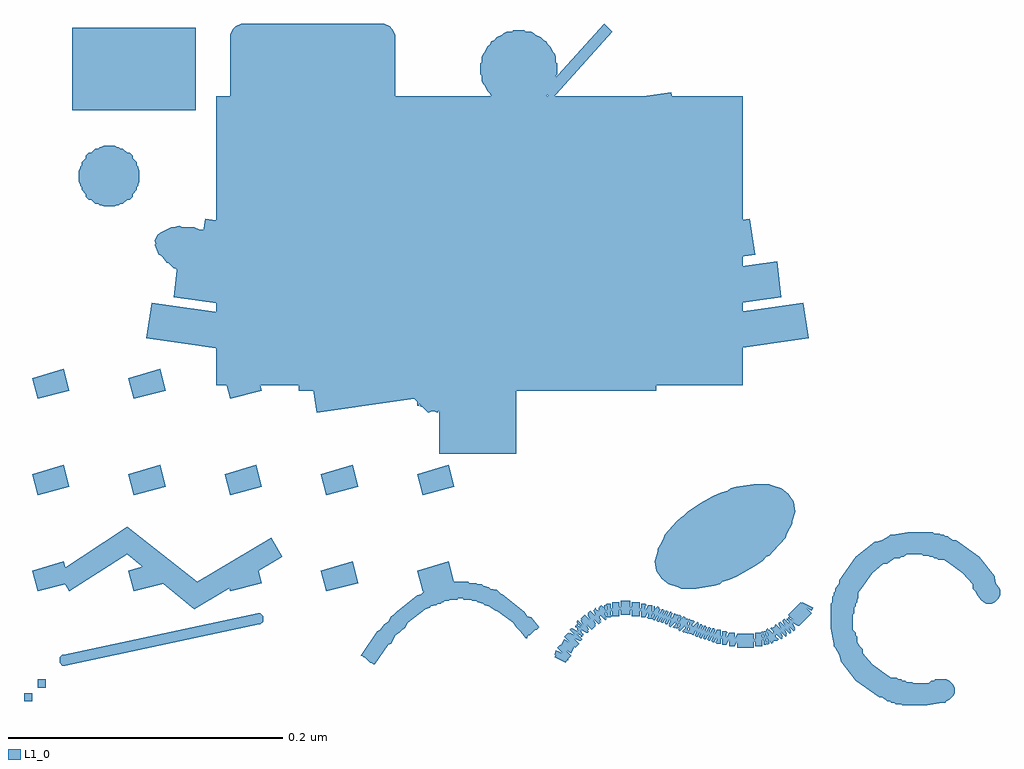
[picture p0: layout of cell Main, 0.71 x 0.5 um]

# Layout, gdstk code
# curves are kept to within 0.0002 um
import gdstk
lib = gdstk.Library(unit=1e-6, precision=1e-09)
def R(c, l, rs):  # rectangles x0, y0, x1, y1
    for r in rs: c.add(gdstk.rectangle(r[:2], r[2:], *l))
def P(c, l, *ps):  # polygons
    for p in ps: c.add(gdstk.Polygon(p, *l))
L1_0 = (1, 0)

main = lib.new_cell('Main')
R(main, L1_0, [(-0.33,-0.24,-0.324,-0.234), (-0.32,-0.23,-0.314,-0.224), (-0.028,-0.06,0.028,0.18), (-0.13,-0.014,0.13,0.014), (-0.13,-0.014,0.13,0.014), (-0.12,-0.013,0.12,0.013), (-0.19,-0.01,0.19,0.2), (-0.187,-0.01,0.193,0.2), (-0.105,0.02,0.105,0.046), (-0.114,0.022,0.114,0.05), (-0.114,0.022,0.114,0.05), (-0.09,0.053,0.09,0.079), (-0.098,0.058,0.098,0.086), (-0.098,0.058,0.098,0.086), (-0.075,0.086,0.075,0.112), (-0.082,0.094,0.082,0.122), (-0.082,0.094,0.082,0.122), (-0.061,0.12,0.061,0.145), (-0.066,0.13,0.066,0.158), (-0.066,0.13,0.066,0.158), (-0.046,0.153,0.046,0.178), (-0.05,0.166,0.05,0.194), (-0.05,0.166,0.05,0.194), (-0.295,0.19,-0.205,0.25), (-0.295,0.19,-0.205,0.25), (-0.17,0.198,-0.07,0.243)])
P(main, L1_0, [(-0.117,-0.03),(-0.121,-0.004),(0.117,0.03),(0.121,0.004)],
  [(-0.107,0.005),(-0.11,0.031),(0.098,0.06),(0.101,0.034)],
  [(-0.097,0.04),(-0.1,0.066),(0.078,0.091),(0.082,0.065)],
  [(-0.086,0.075),(-0.09,0.1),(0.059,0.121),(0.062,0.096)],
  [(-0.077,0.11),(-0.081,0.135),(0.04,0.152),(0.044,0.127)],
  [(0.003,-0.01),(-0.001,0.016),(0.237,0.05),(0.241,0.024)],
  [(0.013,0.025),(0.01,0.051),(0.218,0.08),(0.221,0.054)],
  [(0.023,0.06),(0.02,0.086),(0.198,0.111),(0.202,0.085)],
  [(-0.003,-0.01),(-0.241,0.024),(-0.237,0.05),(0.001,0.016)],
  [(-0.003,-0.01),(-0.241,0.024),(-0.237,0.05),(-0.001,0.016),(0.001,0.016),(0.237,0.05),(0.241,0.024),(0.003,-0.01),(0,0.009)],
  [(0.013,0.025),(0.01,0.051),(0.218,0.08),(0.221,0.054)],
  [(0.023,0.06),(0.02,0.086),(0.198,0.111),(0.202,0.085)],
  [(-0.003,-0.01),(-0.19,0.017),(-0.19,0.043),(-0.001,0.016),(0.001,0.016),(0.19,0.043),(0.19,0.017),(0.003,-0.01),(0,0.009)],
  [(0.013,0.025),(0.01,0.051),(0.19,0.076),(0.19,0.05)],
  [(0.023,0.06),(0.02,0.086),(0.19,0.11),(0.19,0.083)],
  [(-0.028,-0.006),(-0.19,0.017),(-0.19,0.043),(-0.028,0.02)],
  [(0.028,-0.006),(0.028,0.02),(0.19,0.043),(0.19,0.017)],
  [(-0.036,-0.005),(-0.184,0.016),(-0.186,0.017),(-0.188,0.019),(-0.19,0.023),(-0.19,0.037),(-0.186,0.041),(-0.184,0.042),(-0.182,0.042),(-0.034,0.021),(-0.032,0.02),(-0.03,0.018),(-0.028,0.014),(-0.028,0),(-0.032,-0.004),(-0.034,-0.005)],
  [(0.034,-0.005),(0.032,-0.004),(0.028,0),(0.028,0.014),(0.03,0.018),(0.032,0.02),(0.034,0.021),(0.182,0.042),(0.184,0.042),(0.186,0.041),(0.19,0.037),(0.19,0.023),(0.188,0.019),(0.186,0.017),(0.184,0.016),(0.036,-0.005)],
  [(0.03,-0.179),(0.016,-0.169),(0.015,-0.169),(0.011,-0.165),(0.008,-0.165),(0.007,-0.164),(0.006,-0.164),(0.003,-0.163),(0.002,-0.162),(-0.001,-0.162),(-0.002,-0.161),(-0.007,-0.161),(-0.008,-0.16),(-0.017,-0.16),(-0.018,-0.161),(-0.023,-0.161),(-0.024,-0.162),(-0.027,-0.162),(-0.028,-0.163),(-0.029,-0.163),(-0.03,-0.164),(-0.032,-0.164),(-0.033,-0.165),(-0.036,-0.166),(-0.037,-0.166),(-0.039,-0.168),(-0.041,-0.168),(-0.038,-0.166),(-0.037,-0.166),(-0.035,-0.164),(-0.032,-0.163),(-0.031,-0.163),(-0.03,-0.162),(-0.028,-0.162),(-0.027,-0.161),(-0.026,-0.161),(-0.025,-0.16),(-0.022,-0.16),(-0.021,-0.159),(-0.016,-0.159),(-0.015,-0.158),(-0.01,-0.158),(-0.009,-0.159),(-0.004,-0.159),(-0.003,-0.16),(0,-0.16),(0.001,-0.161),(0.002,-0.161),(0.005,-0.162),(0.006,-0.163),(0.007,-0.163),(0.015,-0.167),(0.016,-0.167)],
  [(-0.076,-0.213),(-0.077,-0.212),(-0.078,-0.212),(-0.082,-0.208),(-0.083,-0.208),(-0.084,-0.207),(-0.085,-0.207),(-0.073,-0.189),(-0.071,-0.188),(-0.068,-0.184),(-0.065,-0.182),(-0.063,-0.178),(-0.061,-0.177),(-0.059,-0.175),(-0.044,-0.163),(-0.041,-0.162),(-0.038,-0.159),(-0.034,-0.158),(-0.033,-0.157),(-0.031,-0.157),(-0.03,-0.156),(-0.029,-0.156),(-0.028,-0.155),(-0.025,-0.155),(-0.024,-0.154),(-0.019,-0.154),(-0.018,-0.153),(-0.007,-0.153),(-0.006,-0.154),(-0.001,-0.154),(0,-0.155),(0.003,-0.155),(0.004,-0.156),(0.008,-0.157),(0.009,-0.158),(0.014,-0.159),(0.017,-0.162),(0.018,-0.162),(0.034,-0.175),(0.036,-0.178),(0.039,-0.179),(0.045,-0.186),(0.044,-0.186),(0.044,-0.187),(0.043,-0.188),(0.042,-0.188),(0.038,-0.192),(0.037,-0.192),(0.036,-0.193),(0.036,-0.194),(0.035,-0.194),(0.031,-0.189),(0.028,-0.186),(0.026,-0.183),(0.014,-0.174),(0.013,-0.174),(0.008,-0.171),(0.005,-0.17),(0.004,-0.169),(0,-0.168),(-0.001,-0.167),(-0.004,-0.167),(-0.005,-0.166),(-0.01,-0.166),(-0.011,-0.165),(-0.014,-0.165),(-0.015,-0.166),(-0.02,-0.166),(-0.021,-0.167),(-0.024,-0.167),(-0.025,-0.168),(-0.026,-0.168),(-0.027,-0.169),(-0.029,-0.169),(-0.03,-0.17),(-0.034,-0.171),(-0.035,-0.172),(-0.038,-0.173),(-0.051,-0.183),(-0.053,-0.187),(-0.055,-0.188),(-0.057,-0.19),(-0.06,-0.192),(-0.063,-0.198),(-0.065,-0.199),(-0.075,-0.213)],
  [(0.001,0.001),(0.002,0.002),(0.002,0.003),(0.003,0.003),(0.005,0.005),(0.005,0.006),(0.006,0.006),(0.008,0.008),(0.007,0.008),(0.007,0.009),(0.01,0.009),(0.008,0.007),(0.009,0.007),(0.009,0.006),(0.007,0.006),(0.007,0.004),(0.004,0.004),(0.004,0.001)],
  [(0.041,0),(0.041,0.005),(0.04,0.005),(0.04,0.011),(0.039,0.012),(0.039,0.013),(0.038,0.014),(0.038,0.015),(0.037,0.016),(0.037,0.015),(0.036,0.015),(0.036,0.016),(0.035,0.016),(0.035,0.017),(0.034,0.017),(0.034,0.018),(0.032,0.018),(0.032,0.019),(0.027,0.019),(0.027,0.018),(0.023,0.018),(0.022,0.017),(0.022,0.016),(0.019,0.016),(0.018,0.015),(0.019,0.015),(0.019,0.014),(0.016,0.014),(0.015,0.013),(0.016,0.013),(0.016,0.012),(0.013,0.012),(0.015,0.014),(0.014,0.014),(0.014,0.015),(0.017,0.015),(0.018,0.016),(0.017,0.016),(0.017,0.017),(0.02,0.017),(0.021,0.018),(0.02,0.018),(0.02,0.019),(0.024,0.019),(0.025,0.02),(0.025,0.021),(0.034,0.021),(0.034,0.02),(0.036,0.02),(0.036,0.019),(0.037,0.019),(0.037,0.018),(0.038,0.018),(0.038,0.017),(0.039,0.017),(0.039,0.014),(0.04,0.013),(0.04,0.012),(0.041,0.011),(0.041,0.01),(0.042,0.009),(0.042,0.007),(0.043,0.007),(0.043,0)],
  [(-0.036,-0.03),(-0.04,-0.026),(-0.043,-0.025),(-0.044,-0.025),(-0.044,-0.024),(-0.043,-0.024),(-0.043,-0.025),(-0.041,-0.025),(-0.042,-0.024),(-0.044,-0.024),(-0.044,-0.022),(-0.049,-0.017),(-0.048,-0.016),(-0.049,-0.015),(-0.05,-0.015),(-0.05,-0.008),(-0.051,-0.001),(-0.05,-0.001),(-0.05,0),(-0.044,0),(-0.037,0.001),(-0.037,0),(-0.035,0),(-0.035,-0.009),(-0.034,-0.01),(-0.031,-0.01),(-0.031,-0.011),(-0.03,-0.011),(-0.03,-0.012),(-0.029,-0.012),(-0.029,-0.013),(-0.027,-0.013),(-0.027,-0.011),(-0.024,-0.01),(-0.024,-0.009),(-0.021,-0.008),(-0.021,-0.007),(-0.014,-0.004),(-0.014,-0.001),(-0.007,0.002),(-0.002,0.007),(-0.002,0.01),(0.002,0.01),(0.002,0.014),(0.009,0.017),(0.009,0.02),(0.012,0.021),(0.012,0.022),(0.015,0.022),(0.015,0.024),(0.02,0.024),(0.02,0.026),(0.031,0.026),(0.034,0.028),(0.036,0.026),(0.039,0.026),(0.039,0.025),(0.041,0.025),(0.041,0.022),(0.044,0.022),(0.044,0.017),(0.046,0.016),(0.046,0.015),(0.047,0.015),(0.047,0.014),(0.048,0.013),(0.047,0.012),(0.048,0.012),(0.049,0.011),(0.048,0.01),(0.048,-0.002),(0.034,-0.002),(0.034,0),(0.033,0),(0.033,0.006),(0.031,0.008),(0.031,0.009),(0.029,0.011),(0.028,0.011),(0.026,0.009),(0.025,0.009),(0.024,0.008),(0.023,0.008),(0.017,0.002),(0.016,0.003),(0.013,-0.003),(0.012,-0.003),(0.012,-0.004),(0.01,-0.004),(0.012,-0.003),(0.012,-0.001),(0.009,-0.004),(0.008,-0.007),(0.004,-0.009),(0.001,-0.012),(-0.001,-0.016),(-0.004,-0.017),(-0.006,-0.019),(-0.007,-0.018),(-0.01,-0.024),(-0.013,-0.025),(-0.014,-0.025),(-0.016,-0.027),(-0.016,-0.028),(-0.019,-0.029),(-0.02,-0.028),(-0.026,-0.028),(-0.027,-0.029),(-0.027,-0.028),(-0.028,-0.028),(-0.029,-0.03),(-0.032,-0.029),(-0.033,-0.029)],
  [(-0.004,-0.02),(-0.005,-0.019),(-0.007,-0.019),(-0.008,-0.018),(-0.009,-0.018),(-0.01,-0.017),(-0.011,-0.017),(-0.011,-0.016),(-0.012,-0.016),(-0.013,-0.015),(-0.014,-0.015),(-0.014,-0.014),(-0.017,-0.011),(-0.017,-0.01),(-0.018,-0.009),(-0.018,-0.008),(-0.019,-0.007),(-0.019,-0.005),(-0.02,-0.004),(-0.02,0.004),(-0.019,0.005),(-0.019,0.007),(-0.018,0.008),(-0.018,0.009),(-0.017,0.01),(-0.017,0.011),(-0.014,0.014),(-0.014,0.015),(-0.013,0.015),(-0.012,0.016),(-0.011,0.016),(-0.011,0.017),(-0.01,0.017),(-0.009,0.018),(-0.008,0.018),(-0.007,0.019),(-0.005,0.019),(-0.004,0.02),(0.004,0.02),(0.005,0.019),(0.007,0.019),(0.008,0.018),(0.009,0.018),(0.01,0.017),(0.011,0.017),(0.012,0.016),(0.013,0.016),(0.013,0.015),(0.014,0.014),(0.015,0.014),(0.015,0.013),(0.017,0.011),(0.017,0.01),(0.018,0.009),(0.018,0.008),(0.019,0.007),(0.019,0.005),(0.02,0.004),(0.02,-0.004),(0.019,-0.005),(0.019,-0.007),(0.018,-0.008),(0.018,-0.009),(0.017,-0.01),(0.017,-0.011),(0.015,-0.013),(0.015,-0.014),(0.014,-0.014),(0.013,-0.015),(0.013,-0.016),(0.012,-0.016),(0.011,-0.017),(0.01,-0.017),(0.009,-0.018),(0.008,-0.018),(0.007,-0.019),(0.005,-0.019),(0.004,-0.02)],
  [(0.026,0.192),(0.025,0.193),(0.021,0.193),(0.019,0.194),(0.018,0.195),(0.014,0.197),(0.012,0.199),(0.01,0.2),(0.009,0.202),(0.007,0.204),(0.005,0.208),(0.004,0.209),(0.003,0.211),(0.003,0.215),(0.002,0.216),(0.002,0.224),(0.003,0.225),(0.003,0.229),(0.004,0.231),(0.005,0.232),(0.007,0.236),(0.009,0.238),(0.01,0.24),(0.012,0.241),(0.014,0.243),(0.018,0.245),(0.019,0.246),(0.021,0.247),(0.025,0.247),(0.026,0.248),(0.034,0.248),(0.035,0.247),(0.039,0.247),(0.041,0.246),(0.042,0.245),(0.046,0.243),(0.048,0.241),(0.05,0.24),(0.051,0.238),(0.053,0.236),(0.055,0.232),(0.056,0.231),(0.057,0.229),(0.057,0.225),(0.058,0.224),(0.058,0.216),(0.057,0.215),(0.057,0.211),(0.056,0.209),(0.055,0.208),(0.053,0.204),(0.051,0.202),(0.05,0.2),(0.048,0.199),(0.046,0.197),(0.042,0.195),(0.041,0.194),(0.039,0.193),(0.035,0.193),(0.034,0.192)],
  [(0.028,0.061),(0.028,0.087),(0.19,0.11),(0.19,0.083)],
  [(0.034,0.095),(0.03,0.12),(0.179,0.141),(0.182,0.116)],
  [(0.043,0.13),(0.039,0.155),(0.16,0.172),(0.164,0.147)],
  [(0.053,0.165),(0.05,0.19),(0.12,0.2),(0.141,0.2),(0.144,0.178)],
  [(0.053,0.165),(0.05,0.19),(0.141,0.203),(0.144,0.178)],
  [(0.034,0.095),(0.03,0.12),(0.179,0.141),(0.182,0.116)],
  [(0.034,0.028),(0.032,0.029),(0.028,0.033),(0.028,0.047),(0.03,0.051),(0.032,0.053),(0.034,0.054),(0.182,0.075),(0.184,0.075),(0.186,0.074),(0.19,0.07),(0.19,0.056),(0.188,0.052),(0.186,0.05),(0.184,0.049),(0.036,0.028)],
  [(0.034,0.062),(0.032,0.063),(0.028,0.067),(0.028,0.081),(0.03,0.085),(0.032,0.087),(0.034,0.088),(0.182,0.109),(0.184,0.109),(0.186,0.108),(0.19,0.104),(0.19,0.089),(0.188,0.085),(0.186,0.083),(0.184,0.082),(0.036,0.062)],
  [(0.039,0.096),(0.035,0.098),(0.033,0.102),(0.031,0.113),(0.031,0.115),(0.033,0.119),(0.037,0.121),(0.172,0.14),(0.174,0.14),(0.178,0.138),(0.18,0.134),(0.181,0.121),(0.179,0.117),(0.175,0.115),(0.041,0.096)],
  [(0.048,0.131),(0.044,0.133),(0.042,0.137),(0.04,0.148),(0.04,0.15),(0.042,0.154),(0.046,0.156),(0.153,0.171),(0.155,0.171),(0.159,0.169),(0.161,0.165),(0.163,0.154),(0.163,0.152),(0.161,0.148),(0.157,0.146),(0.05,0.131)],
  [(0.058,0.166),(0.054,0.168),(0.052,0.172),(0.051,0.183),(0.051,0.185),(0.053,0.189),(0.057,0.191),(0.12,0.2),(0.135,0.2),(0.139,0.198),(0.141,0.196),(0.142,0.194),(0.143,0.183),(0.141,0.179),(0.137,0.177),(0.06,0.166)],
  [(0.034,0.095),(0.03,0.12),(0.179,0.141),(0.182,0.116)],
  [(0.034,0.095),(0.03,0.12),(0.179,0.141),(0.182,0.116)],
  [(0.043,0.13),(0.039,0.155),(0.16,0.172),(0.164,0.147)],
  [(0.053,0.165),(0.05,0.19),(0.12,0.2),(0.141,0.2),(0.144,0.178)],
  [(0.043,0.13),(0.039,0.155),(0.16,0.172),(0.164,0.147)],
  [(0.053,0.165),(0.05,0.19),(0.141,0.203),(0.144,0.178)],
  [(0.043,0.13),(0.039,0.155),(0.16,0.172),(0.164,0.147)],
  [(0.054,0.198),(0.048,0.204),(0.092,0.253),(0.098,0.247)],
  [(0.028,0.027),(0.028,0.053),(0.19,0.076),(0.19,0.05)],
  [(-0.013,0.025),(-0.221,0.054),(-0.218,0.08),(-0.01,0.051)],
  [(-0.043,0.13),(-0.164,0.147),(-0.16,0.172),(-0.039,0.155)],
  [(-0.013,0.025),(-0.19,0.05),(-0.19,0.076),(-0.01,0.051)],
  [(-0.053,0.165),(-0.144,0.178),(-0.141,0.2),(-0.12,0.2),(-0.05,0.19)],
  [(-0.013,0.025),(-0.221,0.054),(-0.218,0.08),(-0.01,0.051)],
  [(-0.023,0.06),(-0.19,0.083),(-0.19,0.11),(-0.02,0.086)],
  [(-0.023,0.06),(-0.202,0.085),(-0.198,0.111),(-0.02,0.086)],
  [(-0.036,0.028),(-0.184,0.049),(-0.186,0.05),(-0.188,0.052),(-0.19,0.056),(-0.19,0.07),(-0.186,0.074),(-0.184,0.075),(-0.182,0.075),(-0.034,0.054),(-0.032,0.053),(-0.03,0.051),(-0.028,0.047),(-0.028,0.033),(-0.032,0.029),(-0.034,0.028)],
  [(-0.034,0.095),(-0.182,0.116),(-0.179,0.141),(-0.03,0.12)],
  [(-0.036,0.062),(-0.184,0.082),(-0.186,0.083),(-0.188,0.085),(-0.19,0.089),(-0.19,0.104),(-0.186,0.108),(-0.184,0.109),(-0.182,0.109),(-0.034,0.088),(-0.032,0.087),(-0.03,0.085),(-0.028,0.081),(-0.028,0.067),(-0.032,0.063),(-0.034,0.062)],
  [(-0.023,0.06),(-0.202,0.085),(-0.198,0.111),(-0.02,0.086)],
  [(-0.041,0.096),(-0.175,0.115),(-0.179,0.117),(-0.181,0.121),(-0.18,0.134),(-0.178,0.138),(-0.174,0.14),(-0.172,0.14),(-0.037,0.121),(-0.033,0.119),(-0.031,0.115),(-0.031,0.113),(-0.033,0.102),(-0.035,0.098),(-0.039,0.096)],
  [(-0.043,0.13),(-0.164,0.147),(-0.16,0.172),(-0.039,0.155)],
  [(-0.05,0.131),(-0.157,0.146),(-0.161,0.148),(-0.163,0.152),(-0.163,0.154),(-0.161,0.165),(-0.159,0.169),(-0.155,0.171),(-0.153,0.171),(-0.046,0.156),(-0.042,0.154),(-0.04,0.15),(-0.04,0.148),(-0.042,0.137),(-0.044,0.133),(-0.048,0.131)],
  [(-0.034,0.095),(-0.182,0.116),(-0.179,0.141),(-0.03,0.12)],
  [(-0.06,0.166),(-0.137,0.177),(-0.141,0.179),(-0.143,0.183),(-0.142,0.194),(-0.141,0.196),(-0.139,0.198),(-0.135,0.2),(-0.12,0.2),(-0.057,0.191),(-0.053,0.189),(-0.051,0.185),(-0.052,0.172),(-0.054,0.168),(-0.058,0.166)],
  [(-0.053,0.165),(-0.144,0.178),(-0.141,0.2),(-0.12,0.2),(-0.05,0.19)],
  [(-0.272,0.12),(-0.274,0.121),(-0.275,0.121),(-0.276,0.122),(-0.278,0.122),(-0.281,0.125),(-0.283,0.125),(-0.285,0.127),(-0.285,0.129),(-0.288,0.132),(-0.288,0.134),(-0.289,0.135),(-0.289,0.136),(-0.29,0.138),(-0.29,0.146),(-0.289,0.148),(-0.289,0.149),(-0.288,0.15),(-0.288,0.152),(-0.285,0.155),(-0.285,0.157),(-0.283,0.159),(-0.281,0.159),(-0.278,0.162),(-0.276,0.162),(-0.275,0.163),(-0.274,0.163),(-0.272,0.164),(-0.264,0.164),(-0.262,0.163),(-0.261,0.163),(-0.26,0.162),(-0.258,0.162),(-0.255,0.159),(-0.253,0.159),(-0.251,0.157),(-0.251,0.155),(-0.248,0.152),(-0.248,0.15),(-0.247,0.149),(-0.247,0.148),(-0.246,0.146),(-0.246,0.138),(-0.247,0.136),(-0.247,0.135),(-0.248,0.134),(-0.248,0.132),(-0.251,0.129),(-0.251,0.127),(-0.253,0.125),(-0.255,0.125),(-0.258,0.122),(-0.26,0.122),(-0.261,0.121),(-0.262,0.121),(-0.264,0.12)],
  [(-0.186,0.062),(-0.188,0.063),(-0.19,0.063),(-0.195,0.065),(-0.198,0.065),(-0.211,0.069),(-0.213,0.071),(-0.218,0.073),(-0.22,0.075),(-0.221,0.075),(-0.225,0.079),(-0.226,0.079),(-0.23,0.084),(-0.232,0.085),(-0.235,0.092),(-0.234,0.093),(-0.235,0.095),(-0.233,0.099),(-0.231,0.101),(-0.223,0.105),(-0.221,0.105),(-0.217,0.106),(-0.215,0.105),(-0.206,0.105),(-0.202,0.103),(-0.199,0.103),(-0.185,0.098),(-0.183,0.096),(-0.178,0.095),(-0.177,0.093),(-0.175,0.092),(-0.172,0.089),(-0.17,0.089),(-0.166,0.084),(-0.162,0.076),(-0.162,0.073),(-0.163,0.069),(-0.165,0.068),(-0.165,0.067),(-0.171,0.064),(-0.174,0.063),(-0.179,0.062),(-0.181,0.063)],
  [(-0.034,0.095),(-0.182,0.116),(-0.179,0.141),(-0.03,0.12)],
  [(-0.043,0.13),(-0.164,0.147),(-0.16,0.172),(-0.039,0.155)],
  [(-0.043,0.13),(-0.164,0.147),(-0.16,0.172),(-0.039,0.155)],
  [(-0.053,0.165),(-0.144,0.178),(-0.141,0.203),(-0.05,0.19)],
  [(-0.028,0.027),(-0.19,0.05),(-0.19,0.076),(-0.028,0.053)],
  [(-0.053,0.165),(-0.144,0.178),(-0.141,0.203),(-0.05,0.19)],
  [(-0.172,0.188),(-0.176,0.19),(-0.178,0.192),(-0.18,0.196),(-0.18,0.245),(-0.178,0.249),(-0.176,0.251),(-0.172,0.253),(-0.068,0.253),(-0.064,0.251),(-0.062,0.249),(-0.06,0.245),(-0.06,0.196),(-0.062,0.192),(-0.064,0.19),(-0.068,0.188)],
  [(-0.028,0.061),(-0.19,0.083),(-0.19,0.11),(-0.028,0.087)],
  [(-0.067,0.145),(-0.07,0.17),(0.021,0.183),(0.024,0.158)],
  [(-0.034,0.095),(-0.182,0.116),(-0.179,0.141),(-0.03,0.12)],
  [(-0.25,-0.09),(-0.254,-0.075),(-0.231,-0.068),(-0.227,-0.084)],
  [(-0.18,-0.09),(-0.184,-0.075),(-0.161,-0.068),(-0.157,-0.084)],
  [(-0.11,-0.09),(-0.114,-0.075),(-0.091,-0.068),(-0.087,-0.084)],
  [(-0.04,-0.09),(-0.044,-0.075),(-0.021,-0.068),(-0.017,-0.084)],
  [(-0.32,-0.02),(-0.324,-0.005),(-0.301,0.002),(-0.297,-0.014)],
  [(-0.25,-0.02),(-0.254,-0.005),(-0.231,0.002),(-0.227,-0.014)],
  [(-0.18,-0.02),(-0.184,-0.005),(-0.161,0.002),(-0.157,-0.014)],
  [(-0.11,-0.02),(-0.114,-0.005),(-0.091,0.002),(-0.087,-0.014)],
  [(-0.04,-0.02),(-0.044,-0.005),(-0.021,0.002),(-0.017,-0.014)],
  [(-0.302,-0.214),(-0.304,-0.212),(-0.304,-0.208),(-0.302,-0.206),(-0.301,-0.206),(-0.16,-0.176),(-0.158,-0.176),(-0.156,-0.178),(-0.156,-0.182),(-0.158,-0.184),(-0.159,-0.184),(-0.3,-0.214)],
  [(-0.205,-0.166),(-0.255,-0.126),(-0.3,-0.155),(-0.255,-0.124),(-0.205,-0.164),(-0.145,-0.13)],
  [(-0.206,-0.173),(-0.255,-0.133),(-0.297,-0.16),(-0.305,-0.146),(-0.255,-0.113),(-0.204,-0.153),(-0.15,-0.121),(-0.142,-0.135)],
  [(-0.32,-0.16),(-0.324,-0.145),(-0.301,-0.138),(-0.297,-0.154)],
  [(-0.32,-0.16),(-0.324,-0.145),(-0.301,-0.138),(-0.297,-0.154)],
  [(-0.01,-0.009),(-0.008,-0.007),(-0.009,-0.007),(-0.009,-0.006),(-0.007,-0.006),(-0.007,-0.004),(-0.004,-0.004),(-0.004,-0.001),(-0.001,-0.001),(-0.002,-0.002),(-0.002,-0.003),(-0.003,-0.003),(-0.005,-0.005),(-0.005,-0.006),(-0.006,-0.006),(-0.008,-0.008),(-0.007,-0.008),(-0.007,-0.009)],
  [(-0.034,-0.021),(-0.034,-0.02),(-0.036,-0.02),(-0.036,-0.019),(-0.037,-0.019),(-0.037,-0.018),(-0.038,-0.018),(-0.038,-0.017),(-0.039,-0.017),(-0.039,-0.014),(-0.04,-0.013),(-0.04,-0.012),(-0.041,-0.011),(-0.041,-0.01),(-0.042,-0.009),(-0.042,-0.007),(-0.043,-0.007),(-0.043,0),(-0.041,0),(-0.041,-0.005),(-0.04,-0.005),(-0.04,-0.011),(-0.039,-0.012),(-0.039,-0.013),(-0.038,-0.014),(-0.038,-0.015),(-0.037,-0.016),(-0.037,-0.015),(-0.036,-0.015),(-0.036,-0.016),(-0.035,-0.016),(-0.035,-0.017),(-0.034,-0.017),(-0.034,-0.018),(-0.032,-0.018),(-0.032,-0.019),(-0.027,-0.019),(-0.027,-0.018),(-0.023,-0.018),(-0.022,-0.017),(-0.022,-0.016),(-0.019,-0.016),(-0.018,-0.015),(-0.019,-0.015),(-0.019,-0.014),(-0.016,-0.014),(-0.015,-0.013),(-0.016,-0.013),(-0.016,-0.012),(-0.013,-0.012),(-0.015,-0.014),(-0.014,-0.014),(-0.014,-0.015),(-0.017,-0.015),(-0.018,-0.016),(-0.017,-0.016),(-0.017,-0.017),(-0.02,-0.017),(-0.021,-0.018),(-0.02,-0.018),(-0.02,-0.019),(-0.024,-0.019),(-0.025,-0.02),(-0.025,-0.021)],
  [(-0.25,-0.16),(-0.254,-0.145),(-0.231,-0.138),(-0.227,-0.154)],
  [(-0.18,-0.16),(-0.184,-0.145),(-0.161,-0.138),(-0.157,-0.154)],
  [(-0.11,-0.16),(-0.114,-0.145),(-0.091,-0.138),(-0.087,-0.154)],
  [(-0.04,-0.16),(-0.044,-0.145),(-0.021,-0.138),(-0.017,-0.154)],
  [(-0.32,-0.16),(-0.324,-0.145),(-0.301,-0.138),(-0.297,-0.154)],
  [(-0.32,-0.16),(-0.324,-0.145),(-0.301,-0.138),(-0.297,-0.154)],
  [(-0.25,-0.16),(-0.254,-0.145),(-0.231,-0.138),(-0.227,-0.154)],
  [(-0.18,-0.16),(-0.184,-0.145),(-0.161,-0.138),(-0.157,-0.154)],
  [(-0.11,-0.16),(-0.114,-0.145),(-0.091,-0.138),(-0.087,-0.154)],
  [(-0.04,-0.16),(-0.044,-0.145),(-0.021,-0.138),(-0.017,-0.154)],
  [(-0.32,-0.09),(-0.324,-0.075),(-0.301,-0.068),(-0.297,-0.084)],
  [(0.064,-0.212),(0.056,-0.208),(0.057,-0.206),(0.056,-0.206),(0.057,-0.203),(0.062,-0.205),(0.058,-0.201),(0.06,-0.199),(0.061,-0.2),(0.061,-0.199),(0.063,-0.195),(0.067,-0.197),(0.063,-0.193),(0.066,-0.19),(0.067,-0.191),(0.067,-0.19),(0.071,-0.192),(0.067,-0.188),(0.068,-0.187),(0.069,-0.188),(0.069,-0.187),(0.073,-0.189),(0.072,-0.186),(0.071,-0.186),(0.071,-0.185),(0.072,-0.185),(0.072,-0.184),(0.073,-0.184),(0.073,-0.185),(0.076,-0.186),(0.073,-0.184),(0.072,-0.184),(0.073,-0.184),(0.072,-0.182),(0.073,-0.181),(0.077,-0.185),(0.075,-0.181),(0.076,-0.181),(0.075,-0.18),(0.078,-0.177),(0.082,-0.181),(0.08,-0.177),(0.081,-0.177),(0.08,-0.176),(0.082,-0.174),(0.086,-0.178),(0.085,-0.175),(0.093,-0.175),(0.093,-0.177),(0.094,-0.179),(0.094,-0.176),(0.093,-0.175),(0.085,-0.175),(0.084,-0.174),(0.086,-0.172),(0.086,-0.173),(0.088,-0.174),(0.088,-0.172),(0.089,-0.172),(0.089,-0.171),(0.09,-0.17),(0.092,-0.172),(0.092,-0.17),(0.093,-0.17),(0.093,-0.173),(0.094,-0.174),(0.097,-0.174),(0.097,-0.177),(0.098,-0.178),(0.098,-0.175),(0.097,-0.174),(0.094,-0.174),(0.094,-0.171),(0.093,-0.17),(0.092,-0.17),(0.093,-0.17),(0.094,-0.169),(0.097,-0.169),(0.097,-0.172),(0.098,-0.173),(0.098,-0.168),(0.103,-0.168),(0.103,-0.171),(0.104,-0.172),(0.104,-0.167),(0.111,-0.167),(0.111,-0.172),(0.112,-0.171),(0.112,-0.168),(0.118,-0.168),(0.118,-0.173),(0.119,-0.172),(0.119,-0.169),(0.122,-0.169),(0.123,-0.17),(0.122,-0.171),(0.122,-0.174),(0.124,-0.17),(0.127,-0.17),(0.127,-0.175),(0.128,-0.174),(0.128,-0.171),(0.129,-0.171),(0.129,-0.173),(0.131,-0.171),(0.132,-0.172),(0.132,-0.173),(0.133,-0.173),(0.132,-0.175),(0.132,-0.177),(0.134,-0.173),(0.135,-0.173),(0.135,-0.174),(0.136,-0.174),(0.135,-0.176),(0.135,-0.178),(0.137,-0.174),(0.138,-0.174),(0.138,-0.175),(0.139,-0.175),(0.138,-0.177),(0.138,-0.179),(0.14,-0.175),(0.141,-0.175),(0.141,-0.176),(0.142,-0.176),(0.141,-0.178),(0.141,-0.18),(0.142,-0.179),(0.147,-0.179),(0.146,-0.18),(0.146,-0.182),(0.154,-0.182),(0.153,-0.183),(0.153,-0.185),(0.154,-0.184),(0.154,-0.182),(0.146,-0.182),(0.147,-0.181),(0.147,-0.179),(0.142,-0.179),(0.143,-0.176),(0.145,-0.177),(0.146,-0.177),(0.146,-0.178),(0.147,-0.177),(0.148,-0.178),(0.148,-0.18),(0.15,-0.178),(0.151,-0.179),(0.151,-0.18),(0.153,-0.18),(0.153,-0.181),(0.154,-0.18),(0.155,-0.181),(0.156,-0.181),(0.156,-0.182),(0.157,-0.181),(0.158,-0.182),(0.156,-0.184),(0.156,-0.186),(0.16,-0.182),(0.16,-0.183),(0.161,-0.183),(0.16,-0.184),(0.161,-0.184),(0.16,-0.186),(0.16,-0.188),(0.162,-0.184),(0.163,-0.184),(0.163,-0.185),(0.164,-0.185),(0.163,-0.187),(0.163,-0.189),(0.165,-0.185),(0.166,-0.185),(0.166,-0.186),(0.167,-0.186),(0.166,-0.188),(0.166,-0.19),(0.168,-0.186),(0.169,-0.186),(0.169,-0.187),(0.17,-0.187),(0.169,-0.189),(0.169,-0.191),(0.171,-0.187),(0.172,-0.187),(0.172,-0.188),(0.173,-0.188),(0.172,-0.19),(0.172,-0.192),(0.174,-0.188),(0.177,-0.188),(0.177,-0.193),(0.178,-0.192),(0.178,-0.189),(0.181,-0.189),(0.182,-0.19),(0.181,-0.191),(0.181,-0.194),(0.183,-0.19),(0.187,-0.19),(0.187,-0.195),(0.189,-0.191),(0.201,-0.191),(0.201,-0.194),(0.202,-0.195),(0.202,-0.191),(0.207,-0.191),(0.207,-0.193),(0.208,-0.194),(0.21,-0.194),(0.21,-0.196),(0.211,-0.197),(0.211,-0.195),(0.21,-0.194),(0.208,-0.194),(0.208,-0.192),(0.207,-0.191),(0.202,-0.191),(0.202,-0.19),(0.206,-0.19),(0.207,-0.189),(0.208,-0.19),(0.208,-0.189),(0.21,-0.189),(0.21,-0.192),(0.211,-0.193),(0.211,-0.191),(0.21,-0.189),(0.208,-0.189),(0.21,-0.189),(0.21,-0.188),(0.211,-0.187),(0.211,-0.188),(0.212,-0.188),(0.215,-0.191),(0.215,-0.189),(0.213,-0.187),(0.214,-0.186),(0.215,-0.187),(0.215,-0.186),(0.216,-0.186),(0.216,-0.185),(0.217,-0.184),(0.221,-0.188),(0.219,-0.184),(0.219,-0.183),(0.22,-0.182),(0.224,-0.186),(0.222,-0.182),(0.222,-0.181),(0.223,-0.18),(0.227,-0.184),(0.226,-0.181),(0.225,-0.181),(0.225,-0.18),(0.226,-0.18),(0.226,-0.179),(0.227,-0.179),(0.227,-0.18),(0.23,-0.181),(0.227,-0.179),(0.226,-0.179),(0.227,-0.179),(0.226,-0.177),(0.235,-0.168),(0.236,-0.169),(0.236,-0.168),(0.244,-0.172),(0.243,-0.174),(0.239,-0.172),(0.243,-0.176),(0.234,-0.185),(0.233,-0.185),(0.229,-0.183),(0.231,-0.187),(0.23,-0.187),(0.231,-0.188),(0.23,-0.189),(0.226,-0.185),(0.228,-0.189),(0.227,-0.189),(0.228,-0.19),(0.227,-0.191),(0.223,-0.187),(0.225,-0.191),(0.224,-0.191),(0.225,-0.192),(0.224,-0.193),(0.22,-0.189),(0.222,-0.193),(0.221,-0.193),(0.222,-0.194),(0.221,-0.195),(0.217,-0.191),(0.217,-0.193),(0.219,-0.195),(0.218,-0.196),(0.215,-0.196),(0.215,-0.197),(0.214,-0.198),(0.212,-0.196),(0.212,-0.198),(0.211,-0.199),(0.21,-0.198),(0.21,-0.199),(0.208,-0.199),(0.208,-0.196),(0.207,-0.195),(0.207,-0.2),(0.202,-0.2),(0.202,-0.197),(0.201,-0.196),(0.201,-0.201),(0.189,-0.201),(0.189,-0.196),(0.187,-0.2),(0.183,-0.2),(0.183,-0.195),(0.181,-0.199),(0.178,-0.199),(0.178,-0.194),(0.177,-0.195),(0.177,-0.198),(0.174,-0.198),(0.173,-0.197),(0.174,-0.196),(0.174,-0.193),(0.172,-0.197),(0.171,-0.197),(0.17,-0.196),(0.171,-0.194),(0.171,-0.192),(0.169,-0.196),(0.168,-0.196),(0.167,-0.195),(0.168,-0.193),(0.168,-0.191),(0.166,-0.195),(0.165,-0.195),(0.164,-0.194),(0.165,-0.192),(0.165,-0.19),(0.163,-0.194),(0.162,-0.194),(0.161,-0.193),(0.162,-0.191),(0.162,-0.189),(0.16,-0.193),(0.159,-0.193),(0.158,-0.192),(0.159,-0.19),(0.159,-0.188),(0.157,-0.192),(0.155,-0.191),(0.154,-0.191),(0.154,-0.19),(0.153,-0.191),(0.152,-0.19),(0.151,-0.19),(0.151,-0.189),(0.15,-0.19),(0.149,-0.189),(0.151,-0.187),(0.151,-0.186),(0.154,-0.186),(0.153,-0.187),(0.153,-0.189),(0.154,-0.188),(0.154,-0.186),(0.151,-0.186),(0.151,-0.185),(0.147,-0.189),(0.146,-0.188),(0.147,-0.187),(0.144,-0.187),(0.144,-0.186),(0.143,-0.187),(0.142,-0.186),(0.144,-0.184),(0.144,-0.183),(0.147,-0.183),(0.146,-0.184),(0.146,-0.187),(0.147,-0.185),(0.147,-0.183),(0.144,-0.183),(0.144,-0.182),(0.14,-0.186),(0.139,-0.185),(0.14,-0.184),(0.139,-0.184),(0.14,-0.182),(0.14,-0.18),(0.138,-0.184),(0.137,-0.184),(0.136,-0.183),(0.137,-0.181),(0.137,-0.179),(0.135,-0.183),(0.134,-0.183),(0.133,-0.182),(0.134,-0.18),(0.134,-0.178),(0.132,-0.182),(0.131,-0.182),(0.13,-0.181),(0.131,-0.179),(0.131,-0.177),(0.129,-0.181),(0.128,-0.181),(0.127,-0.18),(0.124,-0.18),(0.123,-0.179),(0.124,-0.178),(0.124,-0.176),(0.128,-0.176),(0.127,-0.177),(0.127,-0.18),(0.128,-0.178),(0.128,-0.176),(0.124,-0.176),(0.124,-0.175),(0.122,-0.179),(0.119,-0.179),(0.119,-0.174),(0.118,-0.175),(0.118,-0.178),(0.112,-0.178),(0.112,-0.173),(0.111,-0.174),(0.111,-0.177),(0.104,-0.177),(0.104,-0.174),(0.103,-0.173),(0.103,-0.178),(0.098,-0.178),(0.097,-0.179),(0.093,-0.179),(0.093,-0.18),(0.094,-0.18),(0.093,-0.181),(0.089,-0.177),(0.089,-0.179),(0.09,-0.181),(0.089,-0.181),(0.089,-0.182),(0.09,-0.182),(0.088,-0.184),(0.084,-0.18),(0.086,-0.184),(0.085,-0.184),(0.086,-0.185),(0.083,-0.188),(0.079,-0.184),(0.081,-0.188),(0.08,-0.188),(0.08,-0.189),(0.081,-0.189),(0.08,-0.19),(0.079,-0.19),(0.075,-0.188),(0.076,-0.191),(0.077,-0.191),(0.077,-0.192),(0.076,-0.192),(0.076,-0.193),(0.075,-0.193),(0.075,-0.192),(0.072,-0.191),(0.076,-0.195),(0.075,-0.196),(0.074,-0.196),(0.07,-0.194),(0.074,-0.198),(0.071,-0.201),(0.07,-0.2),(0.07,-0.201),(0.068,-0.205),(0.064,-0.203),(0.068,-0.207),(0.066,-0.209),(0.066,-0.21),(0.065,-0.21)],
  [(0.314,-0.236),(0.313,-0.235),(0.309,-0.235),(0.308,-0.234),(0.306,-0.234),(0.305,-0.233),(0.303,-0.233),(0.302,-0.232),(0.299,-0.232),(0.297,-0.23),(0.295,-0.23),(0.281,-0.219),(0.271,-0.208),(0.271,-0.205),(0.27,-0.204),(0.27,-0.202),(0.267,-0.199),(0.267,-0.196),(0.266,-0.195),(0.266,-0.193),(0.265,-0.192),(0.264,-0.186),(0.264,-0.174),(0.265,-0.173),(0.265,-0.169),(0.266,-0.168),(0.266,-0.166),(0.267,-0.165),(0.267,-0.163),(0.268,-0.162),(0.268,-0.159),(0.27,-0.157),(0.27,-0.155),(0.281,-0.141),(0.292,-0.131),(0.295,-0.131),(0.296,-0.13),(0.298,-0.13),(0.301,-0.127),(0.304,-0.127),(0.305,-0.126),(0.307,-0.126),(0.308,-0.125),(0.314,-0.124),(0.326,-0.124),(0.327,-0.125),(0.331,-0.125),(0.332,-0.126),(0.334,-0.126),(0.335,-0.127),(0.337,-0.127),(0.338,-0.128),(0.341,-0.128),(0.343,-0.13),(0.345,-0.13),(0.359,-0.141),(0.369,-0.152),(0.369,-0.155),(0.37,-0.156),(0.37,-0.158),(0.368,-0.155),(0.368,-0.154),(0.367,-0.153),(0.367,-0.152),(0.359,-0.141),(0.346,-0.132),(0.344,-0.132),(0.342,-0.13),(0.34,-0.13),(0.339,-0.129),(0.337,-0.129),(0.336,-0.128),(0.334,-0.128),(0.333,-0.127),(0.329,-0.127),(0.328,-0.126),(0.311,-0.126),(0.307,-0.127),(0.306,-0.127),(0.305,-0.128),(0.303,-0.128),(0.302,-0.129),(0.3,-0.129),(0.298,-0.13),(0.295,-0.132),(0.294,-0.132),(0.293,-0.133),(0.292,-0.133),(0.281,-0.141),(0.272,-0.154),(0.272,-0.156),(0.27,-0.158),(0.27,-0.16),(0.269,-0.161),(0.269,-0.163),(0.268,-0.164),(0.268,-0.166),(0.267,-0.167),(0.267,-0.171),(0.266,-0.172),(0.266,-0.189),(0.267,-0.193),(0.267,-0.194),(0.268,-0.195),(0.268,-0.197),(0.269,-0.198),(0.269,-0.2),(0.27,-0.202),(0.272,-0.205),(0.272,-0.206),(0.273,-0.207),(0.273,-0.208),(0.281,-0.219),(0.294,-0.228),(0.296,-0.228),(0.298,-0.23),(0.3,-0.23),(0.301,-0.231),(0.303,-0.231),(0.304,-0.232),(0.306,-0.232),(0.307,-0.233),(0.311,-0.233),(0.312,-0.234),(0.329,-0.234),(0.333,-0.233),(0.334,-0.233),(0.335,-0.232),(0.337,-0.232),(0.338,-0.231),(0.339,-0.231),(0.339,-0.233),(0.336,-0.233),(0.335,-0.234),(0.333,-0.234),(0.332,-0.235),(0.326,-0.236)],
  [(0.309,-0.243),(0.308,-0.242),(0.304,-0.242),(0.303,-0.241),(0.301,-0.241),(0.3,-0.24),(0.298,-0.24),(0.294,-0.237),(0.292,-0.237),(0.275,-0.225),(0.264,-0.211),(0.263,-0.206),(0.26,-0.201),(0.259,-0.2),(0.259,-0.198),(0.257,-0.187),(0.257,-0.169),(0.258,-0.168),(0.258,-0.164),(0.259,-0.163),(0.259,-0.161),(0.26,-0.16),(0.26,-0.158),(0.263,-0.154),(0.263,-0.152),(0.275,-0.135),(0.289,-0.124),(0.294,-0.123),(0.299,-0.12),(0.3,-0.119),(0.302,-0.119),(0.313,-0.117),(0.331,-0.117),(0.332,-0.118),(0.336,-0.118),(0.337,-0.119),(0.339,-0.119),(0.34,-0.12),(0.342,-0.12),(0.346,-0.123),(0.348,-0.123),(0.365,-0.135),(0.376,-0.149),(0.377,-0.154),(0.38,-0.159),(0.38,-0.163),(0.379,-0.165),(0.376,-0.168),(0.374,-0.169),(0.37,-0.169),(0.368,-0.168),(0.366,-0.166),(0.363,-0.162),(0.362,-0.16),(0.36,-0.158),(0.36,-0.155),(0.353,-0.147),(0.339,-0.137),(0.335,-0.137),(0.334,-0.136),(0.332,-0.136),(0.331,-0.135),(0.329,-0.135),(0.328,-0.134),(0.324,-0.134),(0.323,-0.133),(0.312,-0.133),(0.31,-0.135),(0.308,-0.135),(0.307,-0.136),(0.303,-0.136),(0.302,-0.137),(0.3,-0.138),(0.298,-0.14),(0.295,-0.14),(0.287,-0.147),(0.277,-0.161),(0.277,-0.165),(0.276,-0.166),(0.276,-0.168),(0.275,-0.169),(0.275,-0.171),(0.274,-0.172),(0.274,-0.176),(0.273,-0.177),(0.273,-0.188),(0.275,-0.19),(0.275,-0.192),(0.276,-0.193),(0.276,-0.197),(0.277,-0.198),(0.278,-0.2),(0.28,-0.202),(0.28,-0.205),(0.287,-0.213),(0.301,-0.223),(0.305,-0.223),(0.306,-0.224),(0.308,-0.224),(0.309,-0.225),(0.311,-0.225),(0.312,-0.226),(0.316,-0.226),(0.317,-0.227),(0.328,-0.227),(0.33,-0.225),(0.332,-0.225),(0.333,-0.224),(0.341,-0.224),(0.343,-0.225),(0.346,-0.228),(0.347,-0.23),(0.347,-0.234),(0.346,-0.236),(0.343,-0.239),(0.341,-0.24),(0.34,-0.241),(0.338,-0.241),(0.327,-0.243)],
  [(0.148,-0.158),(0.146,-0.157),(0.139,-0.155),(0.134,-0.151),(0.13,-0.145),(0.129,-0.138),(0.131,-0.131),(0.131,-0.129),(0.133,-0.126),(0.135,-0.122),(0.136,-0.119),(0.148,-0.106),(0.15,-0.105),(0.153,-0.102),(0.159,-0.098),(0.171,-0.091),(0.175,-0.089),(0.182,-0.087),(0.184,-0.085),(0.188,-0.084),(0.201,-0.082),(0.212,-0.082),(0.214,-0.083),(0.221,-0.085),(0.226,-0.089),(0.23,-0.095),(0.231,-0.102),(0.229,-0.109),(0.229,-0.111),(0.227,-0.114),(0.225,-0.118),(0.224,-0.121),(0.212,-0.134),(0.21,-0.135),(0.207,-0.138),(0.201,-0.142),(0.189,-0.149),(0.185,-0.151),(0.178,-0.153),(0.176,-0.155),(0.172,-0.156),(0.159,-0.158)],
  [(0.148,-0.158),(0.146,-0.157),(0.139,-0.155),(0.134,-0.151),(0.13,-0.145),(0.129,-0.138),(0.131,-0.131),(0.131,-0.129),(0.133,-0.126),(0.135,-0.122),(0.136,-0.119),(0.148,-0.106),(0.15,-0.105),(0.153,-0.102),(0.162,-0.096),(0.175,-0.096),(0.174,-0.097),(0.172,-0.097),(0.171,-0.098),(0.169,-0.098),(0.167,-0.1),(0.165,-0.101),(0.161,-0.105),(0.16,-0.107),(0.158,-0.109),(0.158,-0.111),(0.157,-0.112),(0.157,-0.114),(0.156,-0.115),(0.156,-0.125),(0.157,-0.126),(0.157,-0.128),(0.158,-0.129),(0.158,-0.131),(0.16,-0.133),(0.161,-0.135),(0.165,-0.139),(0.167,-0.14),(0.169,-0.142),(0.171,-0.142),(0.172,-0.143),(0.174,-0.143),(0.175,-0.144),(0.185,-0.144),(0.186,-0.143),(0.188,-0.143),(0.189,-0.142),(0.191,-0.142),(0.193,-0.14),(0.195,-0.139),(0.199,-0.135),(0.2,-0.133),(0.202,-0.131),(0.202,-0.129),(0.203,-0.128),(0.203,-0.126),(0.204,-0.125),(0.204,-0.115),(0.203,-0.114),(0.203,-0.112),(0.202,-0.111),(0.202,-0.109),(0.2,-0.107),(0.199,-0.105),(0.195,-0.101),(0.193,-0.1),(0.191,-0.098),(0.189,-0.098),(0.188,-0.097),(0.186,-0.097),(0.185,-0.096),(0.162,-0.096),(0.175,-0.089),(0.182,-0.087),(0.184,-0.085),(0.188,-0.084),(0.201,-0.082),(0.212,-0.082),(0.214,-0.083),(0.221,-0.085),(0.226,-0.089),(0.23,-0.095),(0.231,-0.102),(0.229,-0.109),(0.229,-0.111),(0.227,-0.114),(0.225,-0.118),(0.224,-0.121),(0.212,-0.134),(0.21,-0.135),(0.207,-0.138),(0.201,-0.142),(0.189,-0.149),(0.185,-0.151),(0.178,-0.153),(0.176,-0.155),(0.172,-0.156),(0.159,-0.158)],
  [(0.175,-0.144),(0.174,-0.143),(0.172,-0.143),(0.171,-0.142),(0.169,-0.142),(0.167,-0.14),(0.165,-0.139),(0.161,-0.135),(0.16,-0.133),(0.158,-0.131),(0.158,-0.129),(0.157,-0.128),(0.157,-0.126),(0.156,-0.125),(0.156,-0.115),(0.157,-0.114),(0.157,-0.112),(0.158,-0.111),(0.158,-0.109),(0.16,-0.107),(0.161,-0.105),(0.165,-0.101),(0.167,-0.1),(0.169,-0.098),(0.171,-0.098),(0.172,-0.097),(0.174,-0.097),(0.175,-0.096),(0.185,-0.096),(0.186,-0.097),(0.188,-0.097),(0.189,-0.098),(0.191,-0.098),(0.193,-0.1),(0.195,-0.101),(0.199,-0.105),(0.2,-0.107),(0.202,-0.109),(0.202,-0.111),(0.203,-0.112),(0.203,-0.114),(0.204,-0.115),(0.204,-0.125),(0.203,-0.126),(0.203,-0.128),(0.202,-0.129),(0.202,-0.131),(0.2,-0.133),(0.199,-0.135),(0.195,-0.139),(0.193,-0.14),(0.191,-0.142),(0.189,-0.142),(0.188,-0.143),(0.186,-0.143),(0.185,-0.144)],
  [(0.201,-0.196),(0.203,-0.194),(0.208,-0.194),(0.209,-0.193),(0.211,-0.193),(0.212,-0.192),(0.214,-0.191),(0.215,-0.191),(0.216,-0.19),(0.218,-0.19),(0.229,-0.183),(0.217,-0.192),(0.214,-0.192),(0.213,-0.193),(0.211,-0.194),(0.21,-0.194),(0.209,-0.195),(0.207,-0.195),(0.206,-0.196)],
  [(0.179,-0.195),(0.178,-0.194),(0.175,-0.194),(0.159,-0.188),(0.157,-0.187),(0.155,-0.187),(0.154,-0.186),(0.152,-0.186),(0.151,-0.185),(0.15,-0.185),(0.148,-0.184),(0.147,-0.183),(0.145,-0.183),(0.144,-0.182),(0.143,-0.182),(0.129,-0.177),(0.128,-0.176),(0.127,-0.176),(0.124,-0.175),(0.12,-0.175),(0.119,-0.174),(0.113,-0.174),(0.112,-0.173),(0.103,-0.173),(0.102,-0.174),(0.097,-0.174),(0.096,-0.175),(0.093,-0.175),(0.092,-0.176),(0.091,-0.176),(0.089,-0.178),(0.087,-0.178),(0.077,-0.185),(0.088,-0.176),(0.09,-0.176),(0.092,-0.174),(0.094,-0.174),(0.095,-0.173),(0.098,-0.173),(0.099,-0.172),(0.104,-0.172),(0.105,-0.171),(0.11,-0.171),(0.111,-0.172),(0.117,-0.172),(0.118,-0.173),(0.122,-0.173),(0.126,-0.174),(0.127,-0.175),(0.128,-0.175),(0.142,-0.18),(0.143,-0.181),(0.145,-0.181),(0.146,-0.182),(0.147,-0.182),(0.149,-0.183),(0.15,-0.184),(0.152,-0.184),(0.153,-0.185),(0.156,-0.185),(0.159,-0.188),(0.173,-0.192),(0.176,-0.192),(0.177,-0.193),(0.181,-0.193),(0.187,-0.195)])

lib.write_gds('Main.gds')
